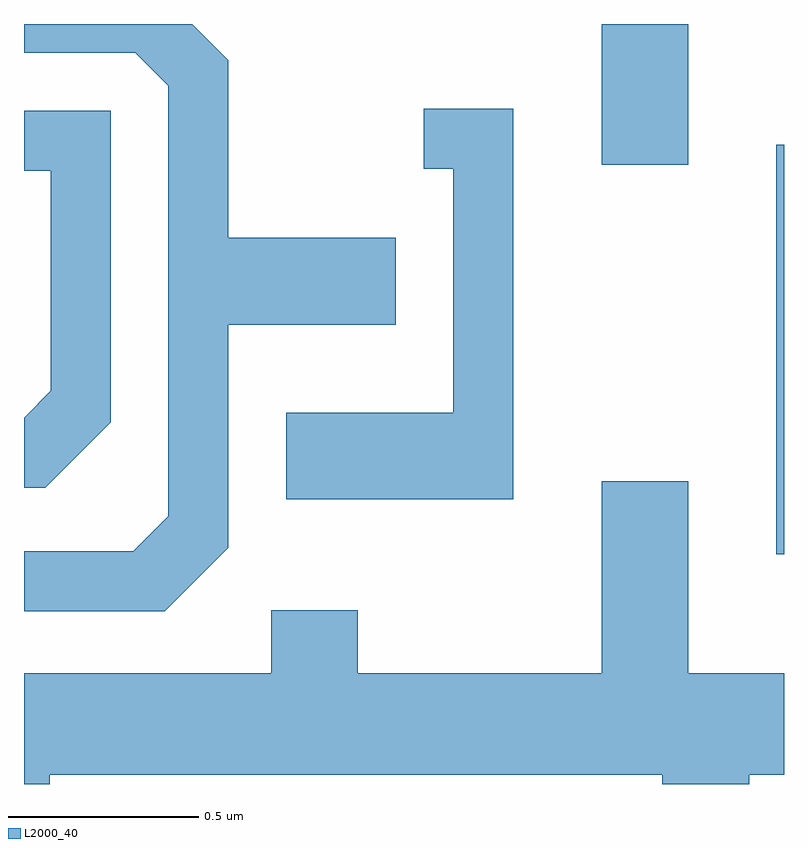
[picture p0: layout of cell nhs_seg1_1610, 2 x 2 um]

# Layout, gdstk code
import gdstk
lib = gdstk.Library(unit=1e-6, precision=1e-09)
def R(c, l, rs):  # rectangles x0, y0, x1, y1
    for r in rs: c.add(gdstk.rectangle(r[:2], r[2:], *l))
def P(c, l, *ps):  # polygons
    for p in ps: c.add(gdstk.Polygon(p, *l))
L2000_40 = (2000, 40)

nhs_seg1_1610 = lib.new_cell('nhs_seg1_1610')
R(nhs_seg1_1610, L2000_40, [(198.591,962.316,198.611,963.394), (198.131,963.341,198.359,963.712)])
P(nhs_seg1_1610, L2000_40, [(197.149,962.334),(197.149,962.921),(197.589,962.921),(197.589,963.149),(197.149,963.149),(197.149,963.617),(197.054,963.712),(196.611,963.712),(196.611,963.636),(196.904,963.636),(196.991,963.549),(196.991,962.417),(196.899,962.324),(196.611,962.324),(196.611,962.166),(196.982,962.166)],
  [(197.899,963.489),(197.663,963.489),(197.663,963.331),(197.741,963.331),(197.741,962.689),(197.301,962.689),(197.301,962.461),(197.899,962.461)],
  [(196.839,962.664),(196.839,963.484),(196.611,963.484),(196.611,963.326),(196.681,963.326),(196.681,962.747),(196.611,962.676),(196.611,962.491),(196.667,962.491)],
  [(196.679,961.736),(198.291,961.736),(198.291,961.712),(198.519,961.712),(198.519,961.736),(198.611,961.736),(198.611,962.004),(198.359,962.004),(198.359,962.509),(198.131,962.509),(198.131,962.004),(197.489,962.004),(197.489,962.169),(197.261,962.169),(197.261,962.004),(196.611,962.004),(196.611,961.712),(196.679,961.712)])

lib.write_gds('nhs_seg1_1610.gds')
